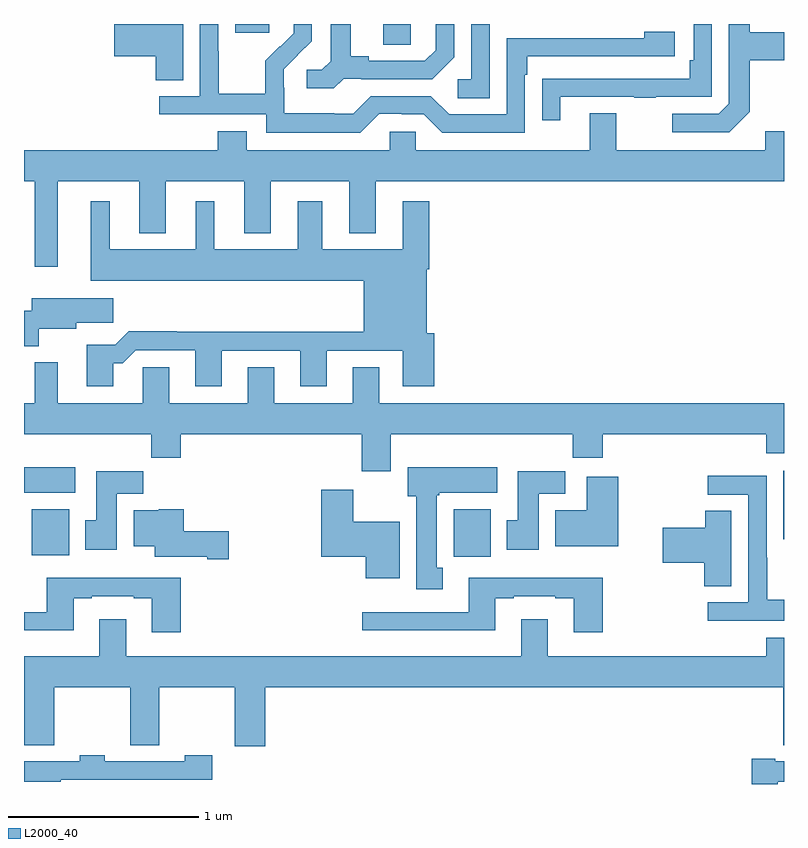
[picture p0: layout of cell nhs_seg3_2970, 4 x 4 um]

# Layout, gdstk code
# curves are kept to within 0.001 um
import gdstk
lib = gdstk.Library(unit=1e-6, precision=1e-09)
def R(c, l, rs):  # rectangles x0, y0, x1, y1
    for r in rs: c.add(gdstk.rectangle(r[:2], r[2:], *l))
def P(c, l, *ps):  # polygons
    for p in ps: c.add(gdstk.Polygon(p, *l))
L2000_40 = (2000, 40)

nhs_seg3_2970 = lib.new_cell('nhs_seg3_2970')
R(nhs_seg3_2970, L2000_40, [(267.261,709.596,267.457,709.846), (265.04,709.604,265.237,709.846), (268.997,709.689,269,710.05), (265,709.934,265.27,710.068), (266.891,712.291,267.036,712.4), (266.111,712.353,266.29,712.4)])
P(nhs_seg3_2970, L2000_40, [(268.819,711.937),(268.819,712.21),(269,712.21),(269,712.357),(268.819,712.357),(268.819,712.4),(268.71,712.4),(268.71,711.981),(268.656,711.927),(268.413,711.927),(268.413,711.831),(268.713,711.831)],
  [(267.45,712.4),(267.354,712.4),(267.354,712.11),(267.282,712.11),(267.282,712.009),(267.45,712.009)],
  [(265.837,712.4),(265.476,712.4),(265.476,712.229),(265.694,712.229),(265.694,712.105),(265.837,712.105)],
  [(266.682,712.113),(266.776,712.113),(266.776,712.11),(267.148,712.11),(267.264,712.226),(267.264,712.4),(267.167,712.4),(267.167,712.263),(267.11,712.206),(266.815,712.206),(266.815,712.229),(266.719,712.229),(266.719,712.4),(266.615,712.4),(266.615,712.205),(266.568,712.158),(266.487,712.158),(266.487,712.061),(266.63,712.061)],
  [(267.823,712.017),(268.213,712.017),(268.213,712.012),(268.325,712.012),(268.325,712.017),(268.62,712.017),(268.62,712.4),(268.524,712.4),(268.524,712.21),(268.504,712.21),(268.504,712.113),(267.829,712.113),(267.829,712.112),(267.727,712.112),(267.727,711.894),(267.823,711.894)],
  [(266.871,711.927),(266.987,711.927),(266.987,711.924),(267.105,711.924),(267.201,711.828),(267.636,711.828),(267.636,712.133),(267.649,712.133),(267.649,712.23),(268.426,712.23),(268.426,712.36),(268.265,712.36),(268.265,712.326),(267.54,712.326),(267.54,711.924),(267.237,711.924),(267.141,712.02),(266.826,712.02),(266.733,711.927),(266.633,711.927),(266.633,711.931),(266.37,711.931),(266.37,712.065),(266.368,712.065),(266.368,712.162),(266.514,712.31),(266.514,712.4),(266.42,712.4),(266.42,712.352),(266.349,712.281),(266.346,712.284),(266.269,712.207),(266.269,712.033),(266.025,712.033),(266.025,712.256),(266.022,712.256),(266.022,712.4),(265.926,712.4),(265.926,712.02),(265.713,712.02),(265.713,711.924),(266.274,711.924),(266.274,711.827),(266.771,711.827)],
  [(265.177,711.572),(265.607,711.572),(265.607,711.299),(265.747,711.299),(265.747,711.572),(266.159,711.572),(266.159,711.299),(266.299,711.299),(266.299,711.572),(266.711,711.572),(266.711,711.299),(266.851,711.299),(266.851,711.572),(269,711.572),(269,711.835),(268.901,711.835),(268.901,711.736),(268.117,711.736),(268.117,711.931),(267.977,711.931),(267.977,711.736),(267.063,711.736),(267.063,711.834),(266.925,711.834),(266.925,711.736),(266.173,711.736),(266.173,711.835),(266.021,711.835),(266.021,711.736),(265,711.736),(265,711.572),(265.056,711.572),(265.056,711.123),(265.177,711.123)],
  [(265.471,710.615),(265.52,710.615),(265.587,710.682),(265.901,710.682),(265.901,710.493),(266.041,710.493),(266.041,710.679),(266.453,710.679),(266.453,710.493),(266.593,710.493),(266.593,710.679),(266.993,710.679),(266.993,710.493),(267.158,710.493),(267.158,710.772),(267.121,710.772),(267.121,711.11),(267.134,711.11),(267.134,711.466),(266.993,711.466),(266.993,711.214),(266.569,711.214),(266.569,711.466),(266.441,711.466),(266.441,711.214),(266.002,711.214),(266.002,711.466),(265.904,711.466),(265.904,711.214),(265.45,711.214),(265.45,711.466),(265.352,711.466),(265.352,711.05),(266.789,711.05),(266.789,710.78),(265.805,710.78),(265.805,710.783),(265.55,710.783),(265.48,710.713),(265.331,710.713),(265.331,710.493),(265.471,710.493)],
  [(265.077,710.796),(265.276,710.796),(265.276,710.827),(265.471,710.827),(265.471,710.956),(265.04,710.956),(265.04,710.892),(265,710.892),(265,710.705),(265.077,710.705)],
  [(266.777,710.046),(266.929,710.046),(266.929,710.24),(267.889,710.24),(267.889,710.116),(268.046,710.116),(268.046,710.24),(268.907,710.24),(268.907,710.141),(269,710.141),(269,710.404),(266.869,710.404),(266.869,710.594),(266.729,710.594),(266.729,710.404),(266.317,710.404),(266.317,710.594),(266.177,710.594),(266.177,710.404),(265.765,710.404),(265.765,710.594),(265.626,710.594),(265.626,710.404),(265.177,710.404),(265.177,710.62),(265.056,710.62),(265.056,710.404),(265,710.404),(265,710.24),(265.669,710.24),(265.669,710.116),(265.826,710.116),(265.826,710.24),(266.777,710.24)],
  [(267.205,709.537),(267.172,709.537),(267.172,709.921),(267.186,709.921),(267.186,709.934),(267.49,709.934),(267.49,710.068),(267.02,710.068),(267.02,709.914),(267.065,709.914),(267.065,709.425),(267.205,709.425)],
  [(265.489,709.928),(265.628,709.928),(265.628,710.047),(265.379,710.047),(265.379,709.788),(265.322,709.788),(265.322,709.632),(265.489,709.632)],
  [(267.709,709.928),(267.848,709.928),(267.848,710.047),(267.599,710.047),(267.599,709.788),(267.542,709.788),(267.542,709.632),(267.709,709.632)],
  [(269,709.369),(268.911,709.369),(268.911,709.592),(268.908,709.592),(268.908,710.022),(268.599,710.022),(268.599,709.923),(268.812,709.923),(268.812,709.356),(268.599,709.356),(268.599,709.26),(269,709.26)],
  [(268.128,710.017),(267.962,710.017),(267.962,709.84),(267.797,709.84),(267.797,709.652),(268.128,709.652)],
  [(266.977,709.78),(266.734,709.78),(266.734,709.948),(266.564,709.948),(266.564,709.595),(266.798,709.595),(266.798,709.484),(266.977,709.484)],
  [(266.077,709.73),(265.841,709.73),(265.841,709.846),(265.71,709.846),(265.71,709.84),(265.577,709.84),(265.577,709.652),(265.688,709.652),(265.688,709.595),(265.964,709.595),(265.964,709.583),(266.077,709.583)],
  [(268.723,709.838),(268.585,709.838),(268.585,709.748),(268.362,709.748),(268.362,709.565),(268.58,709.565),(268.58,709.441),(268.723,709.441)],
  [(268.046,709.486),(267.341,709.486),(267.341,709.305),(266.781,709.305),(266.781,709.208),(267.481,709.208),(267.481,709.377),(267.577,709.377),(267.577,709.389),(267.797,709.389),(267.797,709.377),(267.893,709.377),(267.893,709.2),(268.046,709.2)],
  [(265.826,709.486),(265.121,709.486),(265.121,709.305),(265,709.305),(265,709.208),(265.261,709.208),(265.261,709.377),(265.357,709.377),(265.357,709.389),(265.577,709.389),(265.577,709.377),(265.673,709.377),(265.673,709.2),(265.826,709.2)],
  [(266.27,708.908),(268.997,708.908),(268.997,708.604),(269,708.604),(269,709.171),(268.907,709.171),(268.907,709.072),(267.757,709.072),(267.757,709.267),(267.617,709.267),(267.617,709.072),(265.537,709.072),(265.537,709.267),(265.397,709.267),(265.397,709.072),(265,709.072),(265,708.908),(265.001,708.908),(265.001,708.604),(265.16,708.604),(265.16,708.908),(265.558,708.908),(265.558,708.604),(265.712,708.604),(265.712,708.908),(266.11,708.908),(266.11,708.6),(266.27,708.6)],
  [(265.193,708.423),(265.99,708.423),(265.99,708.552),(265.845,708.552),(265.845,708.519),(265.425,708.519),(265.425,708.552),(265.293,708.552),(265.293,708.519),(265,708.519),(265,708.411),(265.193,708.411)],
  [(268.967,708.411),(269,708.411),(269,708.519),(268.954,708.519),(268.954,708.532),(268.831,708.532),(268.831,708.4),(268.967,708.4)])

lib.write_gds('nhs_seg3_2970.gds')
